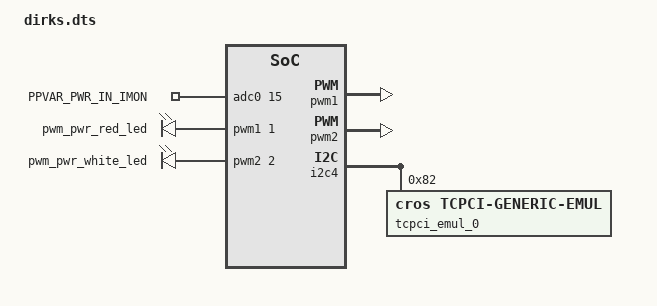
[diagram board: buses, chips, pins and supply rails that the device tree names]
/* Copyright 2025 The ChromiumOS Authors
 * Use of this source code is governed by a BSD-style license that can be
 * found in the LICENSE file.
 */

#include <dt-bindings/pwm/pwm.h>
#include <it8xxx2_emul.dts>

/ {
	named-adc-channels {
		compatible = "named-adc-channels";

		adc_vbus: vbus {
			enum-name = "ADC_VBUS";
			io-channels = <&adc0 4>;
		};
	};

	zephyr,user {
		io-channels = <&adc0 15>;
		io-channel-names = "PPVAR_PWR_IN_IMON";
	};

	named-gpios {
		compatible = "named-gpios";

		gpio_ec_entering_rw: ec_entering_rw {
			gpios = <&gpioc 7 GPIO_OUTPUT>;
			enum-name = "GPIO_ENTERING_RW";
		};
		gpio_usb_c0_fault_l: usb_c0_fault_l {
			gpios = <&gpiok 0 GPIO_INPUT_PULL_UP>;
		};
		gpio_bj_adp_present: bj_adp_present {
			gpios = <&gpioa 7 GPIO_INPUT>;
		};
		gpio_en_ppvar_bj_adp_od: en_ppvar_bj_adp_od {
			gpios = <&gpioe 3 GPIO_OUTPUT>;
		};
	};

	gpio-interrupts {
		compatible = "cros-ec,gpio-interrupts";

		int_usb_c0: usb_c0 {
			irq-pin = <&gpio_usb_c0_fault_l>;
			flags = <GPIO_INT_EDGE_FALLING>;
			handler = "syv682x_interrupt";
		};
		int_bj_adp_present: bj_adp_present {
			irq-pin = <&gpio_bj_adp_present>;
			flags = <GPIO_INT_EDGE_BOTH>;
			handler = "adp_connect_interrupt";
		};
	};

	named-i2c-ports {
		compatible = "named-i2c-ports";

		i2c_ec_i2c_usb_c0: ec_i2c_usb_c0 {
			i2c-port = <&i2c2>;
			enum-names = "I2C_PORT_USB_C0";
		};
	};

	usbc {
		#address-cells = <1>;
		#size-cells = <0>;
		port0@0 {
			compatible = "named-usbc-port";
			reg = <0>;
			tcpc = <&tcpci_emul_0>;
			usb-mux-chain-0 {
				compatible = "cros-ec,usb-mux-chain";
				usb-muxes = <&virtual_mux_0>;
			};
		};
		port0-muxes {
			virtual_mux_0: virtual-mux-0 {
				compatible = "cros-ec,usbc-mux-virtual";
			};
		};
	};

	led-pwms {
		#address-cells = <1>;
		#size-cells = <1>;

		pwm1: pwm@1 {
			compatible = "cros,pwm-mock";
			reg = <1 1>;
			#pwm-cells = <3>;
		};
		pwm2: pwm@2 {
			compatible = "cros,pwm-mock";
			reg = <2 1>;
			#pwm-cells = <3>;
		};
	};

	pwmleds {
		compatible = "pwm-leds";
		pwm_pwr_red_led: pwm_pwr_red_led {
			pwms = <&pwm1 1 PWM_HZ(2000) PWM_POLARITY_INVERTED>;
		};
		pwm_pwr_white_led: pwm_pwr_white_led {
			pwms = <&pwm2 2 PWM_HZ(2000) PWM_POLARITY_INVERTED>;
		};
	};

	cros-pwmleds {
		compatible = "cros-ec,pwm-leds";

		leds = <&pwm_pwr_red_led>;
		leds = <&pwm_pwr_white_led>;
	};

	pwm-led-pins {
		compatible = "cros-ec,pwm-led-pins";

		power_led: power-led {
			led-id = "EC_LED_ID_POWER_LED";
			led-pwms = <&pwm_pwr_red_led &pwm_pwr_white_led>;

			color-battery-off {
				led-color = "LED_OFF";
				led-values = <0 0>;
			};

			color-battery-amber {
				led-color = "LED_AMBER";
				led-values = <100 0>;
			};

			color-battery-white {
				led-color = "LED_WHITE";
				led-values = <0 100>;
			};
		};
	};
};

&i2c4 {
	tcpci_emul_0: tcpci_emul@82 {
		compatible = "cros,tcpci-generic-emul";
		status = "okay";
		reg = <0x82>;
	};
};
